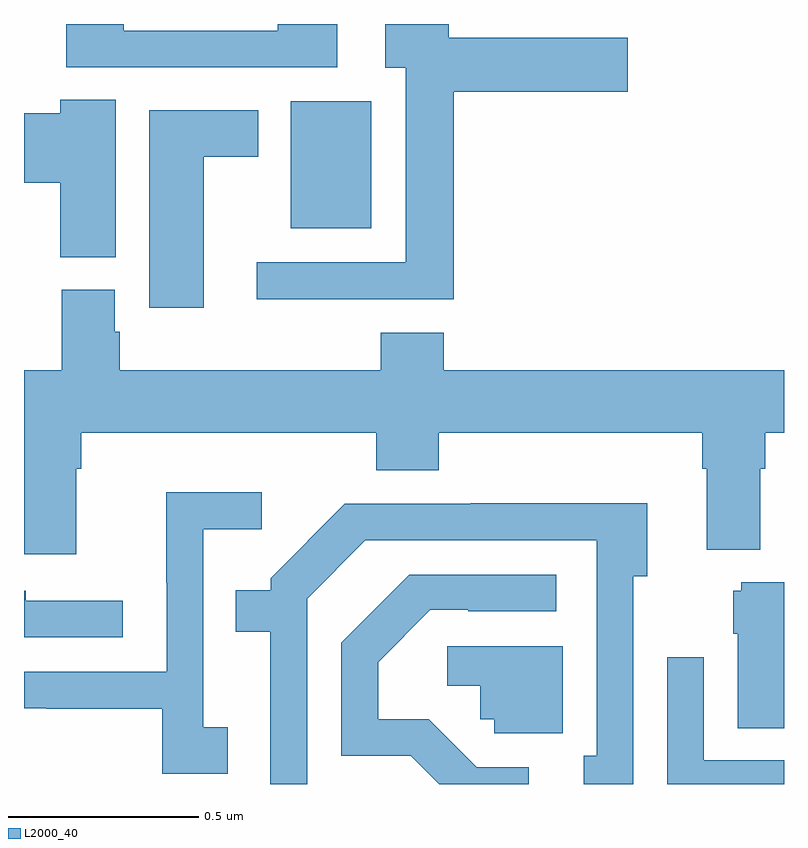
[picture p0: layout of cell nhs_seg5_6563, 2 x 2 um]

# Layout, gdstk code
import gdstk
lib = gdstk.Library(unit=1e-6, precision=1e-09)
def R(c, l, rs):  # rectangles x0, y0, x1, y1
    for r in rs: c.add(gdstk.rectangle(r[:2], r[2:], *l))
def P(c, l, *ps):  # polygons
    for p in ps: c.add(gdstk.Polygon(p, *l))
L2000_40 = (2000, 40)

nhs_seg5_6563 = lib.new_cell('nhs_seg5_6563')
R(nhs_seg5_6563, L2000_40, [(197.702,893.261,197.914,893.596)])
P(nhs_seg5_6563, L2000_40, [(197.824,893.799),(197.668,893.799),(197.668,893.781),(197.263,893.781),(197.263,893.799),(197.111,893.799),(197.111,893.685),(197.824,893.685)],
  [(198.131,893.621),(198.589,893.621),(198.589,893.763),(198.118,893.763),(198.118,893.799),(197.951,893.799),(197.951,893.684),(198.005,893.684),(198.005,893.172),(197.613,893.172),(197.613,893.075),(198.131,893.075)],
  [(197.242,893.6),(197.096,893.6),(197.096,893.564),(197,893.564),(197,893.381),(197.096,893.381),(197.096,893.185),(197.242,893.185)],
  [(197.473,893.45),(197.617,893.45),(197.617,893.572),(197.33,893.572),(197.33,893.052),(197.473,893.052)],
  [(197.137,892.628),(197.15,892.628),(197.15,892.724),(197.927,892.724),(197.927,892.625),(198.092,892.625),(198.092,892.724),(198.785,892.724),(198.785,892.628),(198.797,892.628),(198.797,892.415),(198.937,892.415),(198.937,892.628),(198.95,892.628),(198.95,892.724),(199,892.724),(199,892.888),(198.104,892.888),(198.104,892.987),(197.939,892.987),(197.939,892.888),(197.252,892.888),(197.252,892.989),(197.239,892.989),(197.239,893.1),(197.099,893.1),(197.099,892.888),(197,892.888),(197,892.404),(197.137,892.404)],
  [(197.536,891.948),(197.472,891.948),(197.472,892.469),(197.626,892.469),(197.626,892.567),(197.374,892.567),(197.374,892.328),(197.376,892.328),(197.376,892.095),(197,892.095),(197,891.999),(197.059,891.999),(197.059,891.997),(197.364,891.997),(197.364,891.826),(197.536,891.826)],
  [(197.745,892.287),(197.898,892.44),(198.507,892.44),(198.507,891.874),(198.473,891.874),(198.473,891.799),(198.603,891.799),(198.603,892.346),(198.64,892.346),(198.64,892.538),(198.175,892.538),(198.175,892.536),(197.844,892.536),(197.649,892.341),(197.649,892.309),(197.557,892.309),(197.557,892.2),(197.648,892.2),(197.648,891.799),(197.745,891.799)],
  [(198.328,891.843),(198.192,891.843),(198.065,891.97),(197.932,891.97),(197.932,892.12),(198.069,892.257),(198.169,892.257),(198.169,892.254),(198.4,892.254),(198.4,892.35),(198.014,892.35),(197.835,892.171),(197.835,891.873),(198.018,891.873),(198.093,891.799),(198.328,891.799)],
  [(199,892.33),(198.888,892.33),(198.888,892.308),(198.866,892.308),(198.866,892.194),(198.878,892.194),(198.878,891.946),(199,891.946)],
  [(197.26,892.281),(197.004,892.281),(197.004,892.308),(197,892.308),(197,892.185),(197.26,892.185)],
  [(198.418,892.161),(198.114,892.161),(198.114,892.058),(198.201,892.058),(198.201,891.969),(198.237,891.969),(198.237,891.933),(198.418,891.933)],
  [(199,891.861),(198.789,891.861),(198.789,892.132),(198.693,892.132),(198.693,891.799),(199,891.799)])

lib.write_gds('nhs_seg5_6563.gds')
